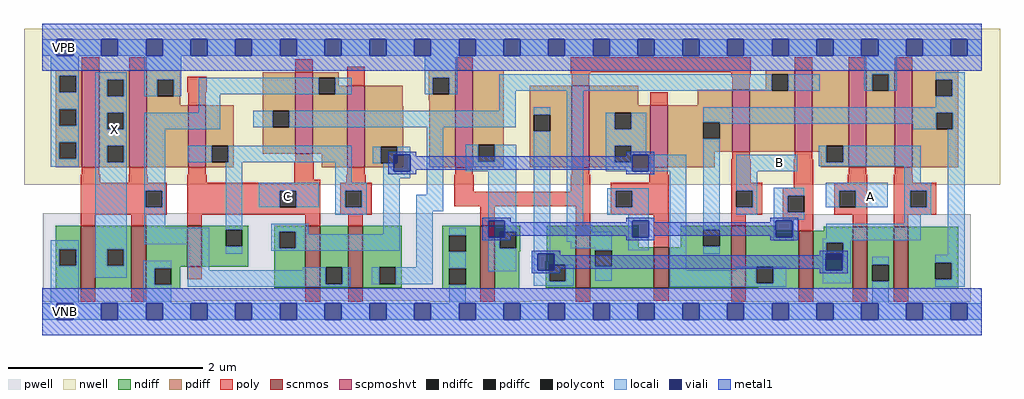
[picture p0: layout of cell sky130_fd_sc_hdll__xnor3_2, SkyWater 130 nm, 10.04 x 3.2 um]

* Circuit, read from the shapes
.subckt sky130_fd_sc_hdll__xnor3_2 A B C VGND VNB VPB VPWR X
XM1 X n1 VGND VNB sky130_fd_pr__nfet_01v8 w=0.65 l=0.15 m=2
XM2 n2 C VGND VNB sky130_fd_pr__nfet_01v8 w=0.42 l=0.15
XM3 n1 C n3 VNB sky130_fd_pr__nfet_01v8 w=0.64 l=0.15
XM4 n4 n2 n1 VNB sky130_fd_pr__nfet_01v8 w=0.64 l=0.15
XM5 n5 B VGND VNB sky130_fd_pr__nfet_01v8 w=0.65 l=0.15
XM6 n4 B n6 VNB sky130_fd_pr__nfet_01v8 w=0.64 l=0.15
XM7 n7 n5 n4 VNB sky130_fd_pr__nfet_01v8 w=0.42 l=0.15
XM8 n3 B n7 VNB sky130_fd_pr__nfet_01v8 w=0.64 l=0.15
XM9 n6 n5 n3 VNB sky130_fd_pr__nfet_01v8 w=0.6 l=0.15
XM10 VGND A n6 VNB sky130_fd_pr__nfet_01v8 w=0.64 l=0.15
XM11 n7 n6 VGND VNB sky130_fd_pr__nfet_01v8 w=0.64 l=0.15
XM12 X n1 VPWR VPB sky130_fd_pr__pfet_01v8_hvt w=1 l=0.18 m=2
XM13 n2 C VPWR VPB sky130_fd_pr__pfet_01v8_hvt w=0.64 l=0.18
XM14 n1 C n4 VPB sky130_fd_pr__pfet_01v8_hvt w=0.84 l=0.18
XM15 n3 n2 n1 VPB sky130_fd_pr__pfet_01v8_hvt w=0.84 l=0.18
XM16 n5 B VPWR VPB sky130_fd_pr__pfet_01v8_hvt w=1 l=0.18
XM17 n3 B n6 VPB sky130_fd_pr__pfet_01v8_hvt w=0.84 l=0.18
XM18 n7 n5 n3 VPB sky130_fd_pr__pfet_01v8_hvt w=0.64 l=0.18
XM19 n4 B n7 VPB sky130_fd_pr__pfet_01v8_hvt w=0.64 l=0.18
XM20 n6 n5 n4 VPB sky130_fd_pr__pfet_01v8_hvt w=0.84 l=0.18
XM21 VPWR A n6 VPB sky130_fd_pr__pfet_01v8_hvt w=1 l=0.18
XM22 n7 n6 VPWR VPB sky130_fd_pr__pfet_01v8_hvt w=1 l=0.18
.ends

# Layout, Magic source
magic
tech sky130A
magscale 1 2
<< nwell >>
rect -38 261 1970 582
<< pwell >>
rect 1 201 1533 203
rect 1 23 1910 201
rect 1 21 309 23
rect 797 21 1007 23
rect 1448 21 1910 23
rect 30 -17 64 21
<< scnmos >>
rect 79 47 109 177
rect 183 47 213 177
rect 298 93 328 177
rect 541 49 571 177
rect 629 49 659 177
rect 901 47 931 177
rect 1097 49 1127 177
rect 1258 49 1288 133
rect 1417 49 1447 177
rect 1556 47 1586 167
rect 1667 47 1697 175
rect 1751 47 1781 175
<< scpmoshvt >>
rect 81 297 117 497
rect 179 297 215 497
rect 300 297 336 425
rect 520 325 556 493
rect 627 297 663 465
rect 849 297 885 497
rect 1089 297 1125 465
rect 1250 297 1286 425
rect 1419 329 1455 457
rect 1548 329 1584 497
rect 1659 297 1695 497
rect 1753 297 1789 497
<< ndiff >>
rect 27 129 79 177
rect 27 95 35 129
rect 69 95 79 129
rect 27 47 79 95
rect 109 129 183 177
rect 109 95 133 129
rect 167 95 183 129
rect 109 47 183 95
rect 213 93 298 177
rect 328 169 423 177
rect 328 135 377 169
rect 411 135 423 169
rect 328 93 423 135
rect 477 165 541 177
rect 477 131 487 165
rect 521 131 541 165
rect 213 89 283 93
rect 213 55 231 89
rect 265 55 283 89
rect 213 47 283 55
rect 477 49 541 131
rect 571 91 629 177
rect 571 57 583 91
rect 617 57 629 91
rect 571 49 629 57
rect 659 91 739 177
rect 659 57 693 91
rect 727 57 739 91
rect 659 49 739 57
rect 823 157 901 177
rect 823 123 837 157
rect 871 123 901 157
rect 823 89 901 123
rect 823 55 837 89
rect 871 55 901 89
rect 823 47 901 55
rect 931 165 983 177
rect 931 131 941 165
rect 975 131 983 165
rect 931 124 983 131
rect 931 47 981 124
rect 1037 104 1097 177
rect 1035 97 1097 104
rect 1035 63 1043 97
rect 1077 63 1097 97
rect 1035 49 1097 63
rect 1127 133 1227 177
rect 1313 169 1417 177
rect 1313 135 1359 169
rect 1393 135 1417 169
rect 1313 133 1417 135
rect 1127 126 1258 133
rect 1127 92 1137 126
rect 1171 92 1258 126
rect 1127 49 1258 92
rect 1288 49 1417 133
rect 1447 167 1507 177
rect 1607 167 1667 175
rect 1447 93 1556 167
rect 1447 59 1469 93
rect 1503 59 1556 93
rect 1447 49 1556 59
rect 1474 47 1556 49
rect 1586 142 1667 167
rect 1586 108 1613 142
rect 1647 108 1667 142
rect 1586 47 1667 108
rect 1697 97 1751 175
rect 1697 63 1707 97
rect 1741 63 1751 97
rect 1697 47 1751 63
rect 1781 101 1884 175
rect 1781 67 1837 101
rect 1871 67 1884 101
rect 1781 47 1884 67
<< pdiff >>
rect 27 485 81 497
rect 27 451 35 485
rect 69 451 81 485
rect 27 417 81 451
rect 27 383 35 417
rect 69 383 81 417
rect 27 349 81 383
rect 27 315 35 349
rect 69 315 81 349
rect 27 297 81 315
rect 117 477 179 497
rect 117 443 133 477
rect 167 443 179 477
rect 117 409 179 443
rect 117 375 133 409
rect 167 375 179 409
rect 117 341 179 375
rect 117 307 133 341
rect 167 307 179 341
rect 117 297 179 307
rect 215 477 283 497
rect 215 443 236 477
rect 270 443 283 477
rect 215 425 283 443
rect 215 297 300 425
rect 336 341 394 425
rect 336 307 348 341
rect 382 307 394 341
rect 453 413 520 493
rect 453 379 474 413
rect 508 379 520 413
rect 453 325 520 379
rect 556 481 610 493
rect 556 447 568 481
rect 602 465 610 481
rect 795 481 849 497
rect 602 447 627 465
rect 556 325 627 447
rect 336 297 394 307
rect 575 297 627 325
rect 663 423 741 465
rect 795 447 803 481
rect 837 447 849 481
rect 795 435 849 447
rect 663 339 742 423
rect 663 305 696 339
rect 730 305 742 339
rect 663 297 742 305
rect 796 297 849 435
rect 885 343 949 497
rect 1488 489 1548 497
rect 885 309 897 343
rect 931 309 949 343
rect 885 297 949 309
rect 1003 405 1089 465
rect 1003 371 1011 405
rect 1045 371 1089 405
rect 1003 297 1089 371
rect 1125 425 1226 465
rect 1488 457 1500 489
rect 1348 425 1419 457
rect 1125 409 1250 425
rect 1125 375 1177 409
rect 1211 375 1250 409
rect 1125 341 1250 375
rect 1125 307 1177 341
rect 1211 307 1250 341
rect 1125 297 1250 307
rect 1286 390 1419 425
rect 1286 356 1359 390
rect 1393 356 1419 390
rect 1286 329 1419 356
rect 1455 455 1500 457
rect 1534 455 1548 489
rect 1455 329 1548 455
rect 1584 341 1659 497
rect 1584 329 1613 341
rect 1286 297 1383 329
rect 1601 307 1613 329
rect 1647 307 1659 341
rect 1601 297 1659 307
rect 1695 489 1753 497
rect 1695 455 1707 489
rect 1741 455 1753 489
rect 1695 297 1753 455
rect 1789 477 1884 497
rect 1789 443 1838 477
rect 1872 443 1884 477
rect 1789 409 1884 443
rect 1789 375 1839 409
rect 1873 375 1884 409
rect 1789 297 1884 375
<< ndiffc >>
rect 35 95 69 129
rect 133 95 167 129
rect 377 135 411 169
rect 487 131 521 165
rect 231 55 265 89
rect 583 57 617 91
rect 693 57 727 91
rect 837 123 871 157
rect 837 55 871 89
rect 941 131 975 165
rect 1043 63 1077 97
rect 1359 135 1393 169
rect 1137 92 1171 126
rect 1469 59 1503 93
rect 1613 108 1647 142
rect 1707 63 1741 97
rect 1837 67 1871 101
<< pdiffc >>
rect 35 451 69 485
rect 35 383 69 417
rect 35 315 69 349
rect 133 443 167 477
rect 133 375 167 409
rect 133 307 167 341
rect 236 443 270 477
rect 348 307 382 341
rect 474 379 508 413
rect 568 447 602 481
rect 803 447 837 481
rect 696 305 730 339
rect 897 309 931 343
rect 1011 371 1045 405
rect 1177 375 1211 409
rect 1177 307 1211 341
rect 1359 356 1393 390
rect 1500 455 1534 489
rect 1613 307 1647 341
rect 1707 455 1741 489
rect 1838 443 1872 477
rect 1839 375 1873 409
<< poly >>
rect 81 497 117 523
rect 179 497 215 523
rect 520 493 556 519
rect 298 451 338 483
rect 300 425 336 451
rect 627 465 663 504
rect 849 497 885 523
rect 520 310 556 325
rect 81 282 117 297
rect 179 282 215 297
rect 300 282 336 297
rect 79 265 119 282
rect 177 265 217 282
rect 298 265 338 282
rect 518 271 558 310
rect 1087 493 1457 523
rect 1548 497 1584 523
rect 1659 497 1695 523
rect 1753 497 1789 523
rect 1087 491 1127 493
rect 1089 465 1125 491
rect 1417 483 1457 493
rect 1419 457 1455 483
rect 1250 425 1286 451
rect 1419 314 1455 329
rect 1548 314 1584 329
rect 627 282 663 297
rect 849 282 885 297
rect 1089 282 1125 297
rect 1250 282 1286 297
rect 518 265 571 271
rect 625 265 665 282
rect 79 249 256 265
rect 79 215 212 249
rect 246 215 256 249
rect 79 199 256 215
rect 298 249 571 265
rect 298 215 488 249
rect 522 215 571 249
rect 298 199 571 215
rect 613 249 677 265
rect 613 215 623 249
rect 657 215 677 249
rect 847 247 887 282
rect 1087 247 1127 282
rect 1248 265 1288 282
rect 847 217 1127 247
rect 613 199 677 215
rect 79 177 109 199
rect 183 177 213 199
rect 298 177 328 199
rect 541 177 571 199
rect 629 177 659 199
rect 901 177 931 217
rect 1097 177 1127 217
rect 1169 249 1288 265
rect 1169 215 1179 249
rect 1213 215 1288 249
rect 1169 199 1288 215
rect 298 67 328 93
rect 79 21 109 47
rect 183 21 213 47
rect 541 21 571 49
rect 629 21 659 49
rect 1258 133 1288 199
rect 1417 265 1457 314
rect 1417 249 1481 265
rect 1546 255 1586 314
rect 1659 282 1695 297
rect 1753 282 1789 297
rect 1657 265 1697 282
rect 1417 215 1427 249
rect 1461 215 1481 249
rect 1417 199 1481 215
rect 1523 239 1586 255
rect 1523 205 1533 239
rect 1567 205 1586 239
rect 1417 177 1447 199
rect 1523 189 1586 205
rect 1629 249 1697 265
rect 1629 215 1639 249
rect 1673 215 1697 249
rect 1629 199 1697 215
rect 1556 167 1586 189
rect 1667 175 1697 199
rect 1751 265 1791 282
rect 1751 249 1839 265
rect 1751 215 1785 249
rect 1819 215 1839 249
rect 1751 199 1839 215
rect 1751 175 1781 199
rect 901 21 931 47
rect 1097 21 1127 49
rect 1258 23 1288 49
rect 1417 21 1447 49
rect 1556 21 1586 47
rect 1667 21 1697 47
rect 1751 21 1781 47
<< polycont >>
rect 212 215 246 249
rect 488 215 522 249
rect 623 215 657 249
rect 1179 215 1213 249
rect 1427 215 1461 249
rect 1533 205 1567 239
rect 1639 215 1673 249
rect 1785 215 1819 249
<< locali >>
rect 0 527 29 561
rect 63 527 121 561
rect 155 527 213 561
rect 247 527 305 561
rect 339 527 397 561
rect 431 527 489 561
rect 523 527 581 561
rect 615 527 673 561
rect 707 527 765 561
rect 799 527 857 561
rect 891 527 949 561
rect 983 527 1041 561
rect 1075 527 1133 561
rect 1167 527 1225 561
rect 1259 527 1317 561
rect 1351 527 1409 561
rect 1443 527 1501 561
rect 1535 527 1593 561
rect 1627 527 1685 561
rect 1719 527 1777 561
rect 1811 527 1869 561
rect 1903 527 1932 561
rect 17 485 75 527
rect 17 451 35 485
rect 69 451 75 485
rect 17 417 75 451
rect 17 383 35 417
rect 69 383 75 417
rect 17 349 75 383
rect 17 315 35 349
rect 69 315 75 349
rect 17 298 75 315
rect 109 477 173 493
rect 109 443 133 477
rect 167 443 173 477
rect 209 477 286 527
rect 787 481 853 527
rect 1691 489 1758 527
rect 209 443 236 477
rect 270 443 286 477
rect 322 447 568 481
rect 602 447 636 481
rect 787 447 803 481
rect 837 447 853 481
rect 940 455 1500 489
rect 1534 455 1599 489
rect 1691 455 1707 489
rect 1741 455 1758 489
rect 1838 477 1897 493
rect 109 409 173 443
rect 322 409 366 447
rect 940 413 974 455
rect 109 375 133 409
rect 167 375 173 409
rect 109 341 173 375
rect 109 307 133 341
rect 167 307 173 341
rect 17 129 75 147
rect 17 95 35 129
rect 69 95 75 129
rect 17 17 75 95
rect 109 129 173 307
rect 209 375 366 409
rect 434 379 474 413
rect 508 379 974 413
rect 1011 405 1045 421
rect 209 249 253 375
rect 299 307 348 341
rect 382 307 636 341
rect 209 215 212 249
rect 246 215 253 249
rect 209 173 253 215
rect 209 139 343 173
rect 109 95 133 129
rect 167 95 173 129
rect 109 70 173 95
rect 207 89 265 105
rect 207 55 231 89
rect 207 17 265 55
rect 299 85 343 139
rect 377 169 411 307
rect 602 265 636 307
rect 680 305 696 339
rect 730 323 757 339
rect 701 289 723 305
rect 701 275 757 289
rect 445 249 568 265
rect 445 215 488 249
rect 522 215 568 249
rect 602 249 667 265
rect 602 215 623 249
rect 657 215 667 249
rect 602 199 667 215
rect 377 119 411 135
rect 471 165 547 181
rect 471 131 487 165
rect 521 159 547 165
rect 701 159 735 275
rect 791 241 825 379
rect 871 309 897 343
rect 931 309 975 343
rect 871 289 975 309
rect 521 131 735 159
rect 471 125 735 131
rect 769 207 825 241
rect 769 91 803 207
rect 917 187 975 289
rect 536 85 583 91
rect 299 57 583 85
rect 617 57 633 91
rect 677 57 693 91
rect 727 57 803 91
rect 837 157 871 173
rect 837 89 871 123
rect 299 51 633 57
rect 951 165 975 187
rect 917 131 941 153
rect 917 83 975 131
rect 1011 119 1045 371
rect 1079 178 1113 455
rect 1872 443 1897 477
rect 1838 421 1897 443
rect 1359 409 1897 421
rect 1159 375 1177 409
rect 1211 375 1242 409
rect 1159 341 1242 375
rect 1159 307 1177 341
rect 1211 323 1242 341
rect 1359 390 1839 409
rect 1393 387 1839 390
rect 1790 375 1839 387
rect 1873 375 1897 409
rect 1211 307 1213 323
rect 1159 289 1213 307
rect 1247 289 1325 323
rect 1162 249 1247 254
rect 1162 215 1179 249
rect 1213 215 1247 249
rect 1162 199 1247 215
rect 1205 187 1247 199
rect 1079 165 1131 178
rect 1079 144 1171 165
rect 1087 131 1171 144
rect 1137 126 1171 131
rect 1205 153 1213 187
rect 1205 126 1247 153
rect 1011 85 1019 119
rect 837 17 871 55
rect 1011 63 1043 85
rect 1077 63 1093 97
rect 1137 64 1171 92
rect 1291 85 1325 289
rect 1359 169 1393 356
rect 1427 289 1553 323
rect 1597 307 1613 341
rect 1647 307 1807 341
rect 1597 299 1807 307
rect 1427 249 1471 289
rect 1773 265 1807 299
rect 1461 215 1471 249
rect 1427 199 1471 215
rect 1505 239 1567 255
rect 1505 205 1533 239
rect 1611 249 1739 265
rect 1611 215 1639 249
rect 1673 215 1739 249
rect 1773 249 1829 265
rect 1773 215 1785 249
rect 1819 215 1829 249
rect 1505 189 1567 205
rect 1773 199 1829 215
rect 1505 187 1546 189
rect 1505 153 1509 187
rect 1543 153 1546 187
rect 1773 181 1807 199
rect 1505 146 1546 153
rect 1613 150 1807 181
rect 1605 147 1807 150
rect 1359 119 1393 135
rect 1605 142 1663 147
rect 1605 119 1613 142
rect 1427 85 1469 93
rect 1011 53 1093 63
rect 1291 59 1469 85
rect 1503 59 1530 93
rect 1605 85 1611 119
rect 1647 108 1663 142
rect 1863 117 1897 375
rect 1645 85 1663 108
rect 1605 59 1663 85
rect 1707 97 1741 113
rect 1291 51 1530 59
rect 1707 17 1741 63
rect 1837 101 1897 117
rect 1871 67 1897 101
rect 1837 51 1897 67
rect 0 -17 29 17
rect 63 -17 121 17
rect 155 -17 213 17
rect 247 -17 305 17
rect 339 -17 397 17
rect 431 -17 489 17
rect 523 -17 581 17
rect 615 -17 673 17
rect 707 -17 765 17
rect 799 -17 857 17
rect 891 -17 949 17
rect 983 -17 1041 17
rect 1075 -17 1133 17
rect 1167 -17 1225 17
rect 1259 -17 1317 17
rect 1351 -17 1409 17
rect 1443 -17 1501 17
rect 1535 -17 1593 17
rect 1627 -17 1685 17
rect 1719 -17 1777 17
rect 1811 -17 1869 17
rect 1903 -17 1932 17
<< viali >>
rect 29 527 63 561
rect 121 527 155 561
rect 213 527 247 561
rect 305 527 339 561
rect 397 527 431 561
rect 489 527 523 561
rect 581 527 615 561
rect 673 527 707 561
rect 765 527 799 561
rect 857 527 891 561
rect 949 527 983 561
rect 1041 527 1075 561
rect 1133 527 1167 561
rect 1225 527 1259 561
rect 1317 527 1351 561
rect 1409 527 1443 561
rect 1501 527 1535 561
rect 1593 527 1627 561
rect 1685 527 1719 561
rect 1777 527 1811 561
rect 1869 527 1903 561
rect 723 305 730 323
rect 730 305 757 323
rect 723 289 757 305
rect 917 165 951 187
rect 917 153 941 165
rect 941 153 951 165
rect 1213 289 1247 323
rect 1213 153 1247 187
rect 1019 97 1053 119
rect 1019 85 1043 97
rect 1043 85 1053 97
rect 1509 153 1543 187
rect 1611 108 1613 119
rect 1613 108 1645 119
rect 1611 85 1645 108
rect 29 -17 63 17
rect 121 -17 155 17
rect 213 -17 247 17
rect 305 -17 339 17
rect 397 -17 431 17
rect 489 -17 523 17
rect 581 -17 615 17
rect 673 -17 707 17
rect 765 -17 799 17
rect 857 -17 891 17
rect 949 -17 983 17
rect 1041 -17 1075 17
rect 1133 -17 1167 17
rect 1225 -17 1259 17
rect 1317 -17 1351 17
rect 1409 -17 1443 17
rect 1501 -17 1535 17
rect 1593 -17 1627 17
rect 1685 -17 1719 17
rect 1777 -17 1811 17
rect 1869 -17 1903 17
<< metal1 >>
rect 0 561 1932 592
rect 0 527 29 561
rect 63 527 121 561
rect 155 527 213 561
rect 247 527 305 561
rect 339 527 397 561
rect 431 527 489 561
rect 523 527 581 561
rect 615 527 673 561
rect 707 527 765 561
rect 799 527 857 561
rect 891 527 949 561
rect 983 527 1041 561
rect 1075 527 1133 561
rect 1167 527 1225 561
rect 1259 527 1317 561
rect 1351 527 1409 561
rect 1443 527 1501 561
rect 1535 527 1593 561
rect 1627 527 1685 561
rect 1719 527 1777 561
rect 1811 527 1869 561
rect 1903 527 1932 561
rect 0 496 1932 527
rect 711 323 769 329
rect 711 289 723 323
rect 757 320 769 323
rect 1201 323 1259 329
rect 1201 320 1213 323
rect 757 292 1213 320
rect 757 289 769 292
rect 711 283 769 289
rect 1201 289 1213 292
rect 1247 289 1259 323
rect 1201 283 1259 289
rect 905 187 963 193
rect 905 153 917 187
rect 951 184 963 187
rect 1201 187 1259 193
rect 1201 184 1213 187
rect 951 156 1213 184
rect 951 153 963 156
rect 905 147 963 153
rect 1201 153 1213 156
rect 1247 184 1259 187
rect 1497 187 1555 193
rect 1497 184 1509 187
rect 1247 156 1509 184
rect 1247 153 1259 156
rect 1201 147 1259 153
rect 1497 153 1509 156
rect 1543 153 1555 187
rect 1497 147 1555 153
rect 1007 119 1065 125
rect 1007 85 1019 119
rect 1053 116 1065 119
rect 1599 119 1657 125
rect 1599 116 1611 119
rect 1053 88 1611 116
rect 1053 85 1065 88
rect 1007 79 1065 85
rect 1599 85 1611 88
rect 1645 85 1657 119
rect 1599 79 1657 85
rect 0 17 1932 48
rect 0 -17 29 17
rect 63 -17 121 17
rect 155 -17 213 17
rect 247 -17 305 17
rect 339 -17 397 17
rect 431 -17 489 17
rect 523 -17 581 17
rect 615 -17 673 17
rect 707 -17 765 17
rect 799 -17 857 17
rect 891 -17 949 17
rect 983 -17 1041 17
rect 1075 -17 1133 17
rect 1167 -17 1225 17
rect 1259 -17 1317 17
rect 1351 -17 1409 17
rect 1443 -17 1501 17
rect 1535 -17 1593 17
rect 1627 -17 1685 17
rect 1719 -17 1777 17
rect 1811 -17 1869 17
rect 1903 -17 1932 17
rect 0 -48 1932 -17
<< labels >>
flabel locali s 131 357 165 391 0 FreeSans 340 0 0 0 X
port 8 nsew signal output
flabel locali s 1500 289 1534 323 0 FreeSans 340 0 0 0 B
port 2 nsew signal input
flabel locali s 488 221 522 255 0 FreeSans 340 0 0 0 C
port 3 nsew signal input
flabel locali s 1686 221 1720 255 0 FreeSans 340 0 0 0 A
port 1 nsew signal input
flabel pwell s 30 -17 64 17 0 FreeSans 200 0 0 0 VNB
port 5 nsew ground bidirectional
flabel nwell s 29 527 63 561 0 FreeSans 200 0 0 0 VPB
port 6 nsew power bidirectional
flabel metal1 s 30 -17 64 17 0 FreeSans 200 0 0 0 VGND
port 4 nsew ground bidirectional
flabel metal1 s 29 527 63 561 0 FreeSans 200 0 0 0 VPWR
port 7 nsew power bidirectional
rlabel comment s 0 0 0 0 4 xnor3_2
flabel comment s 0 544 0 544 3 FreeSans 200 0 0 0 HHNEC
<< properties >>
string LEFsite unithd
string LEFclass CORE
string FIXED_BBOX 0 0 1932 544
string GDS_FILE $PDKPATH/libs.ref/sky130_fd_sc_hdll/gds/sky130_fd_sc_hdll.gds
string LEFsymmetry X Y R90
string GDS_END 1263666
string GDS_START 1250874
string LEFproperties maskLayoutSubType "abstract" prCellType "standard" originalViewName "layout"
<< end >>
